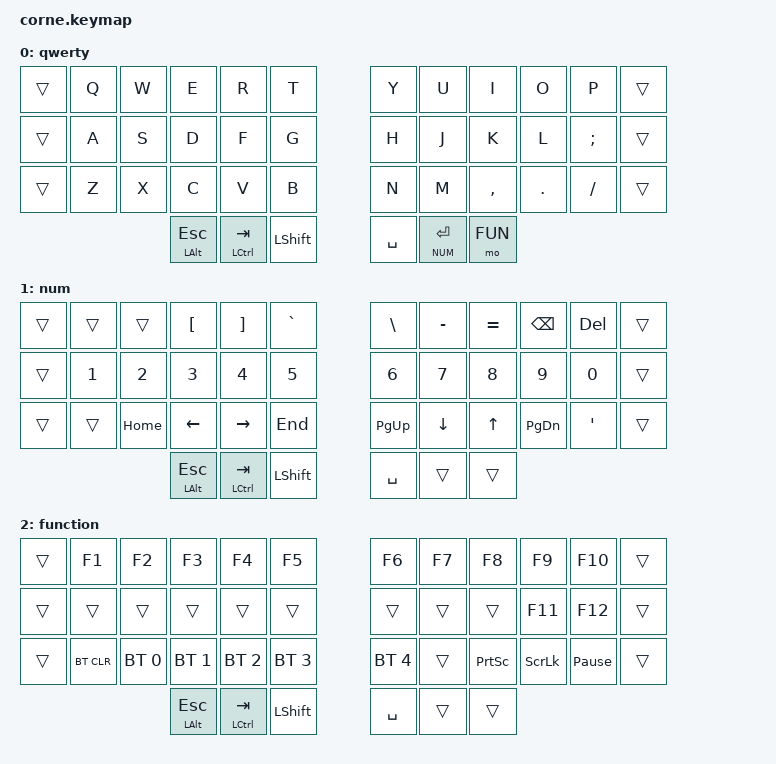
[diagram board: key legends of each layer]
/*
 * Copyright (c) 2020 The ZMK Contributors
 *
 * SPDX-License-Identifier: MIT
 */

#include <behaviors.dtsi>
#include <dt-bindings/zmk/keys.h>
#include <dt-bindings/zmk/bt.h>

#define NUM 1
#define FUN 2

// Configure behaviors

&mt {
		tapping-term-ms = <250>;
		flavor = "hold-preferred";
};

&lt {
		tapping-term-ms = <250>;
		flavor = "hold-preferred";
};

/ {
        keymap {
                compatible = "zmk,keymap";

                qwerty {
                        bindings = <
   &trans  &kp Q  &kp W  &kp E  &kp R  &kp T    &kp Y  &kp U  &kp I      &kp O    &kp P     &trans
   &trans  &kp A  &kp S  &kp D  &kp F  &kp G    &kp H  &kp J  &kp K      &kp L    &kp SEMI  &trans
   &trans  &kp Z  &kp X  &kp C  &kp V  &kp B    &kp N  &kp M  &kp COMMA  &kp DOT  &kp FSLH   &trans
   &mt LALT ESC  &mt LCTRL TAB &kp LSHFT        &kp SPACE  &lt NUM RET  &mo FUN
                        >;
                };
                num {
                        bindings = <
   &trans  &trans  &trans    &kp LBKT  &kp RBKT   &kp GRAVE        &kp BSLH   &kp MINUS  &kp EQUAL  &kp BSPC   &kp DEL  &trans
   &trans  &kp N1  &kp N2    &kp N3    &kp N4     &kp N5          &kp N6     &kp N7     &kp N8     &kp N9     &kp N0   &trans
   &trans  &trans  &kp HOME  &kp LEFT  &kp RIGHT  &kp END         &kp PG_UP  &kp DOWN   &kp UP     &kp PG_DN  &kp SQT  &trans
   &mt LALT ESC  &mt LCTRL TAB &kp LSHFT                          &kp SPACE  &trans  &trans 
                        >;
                };
                function {
                        bindings = <
   &trans  &kp F1      &kp F2        &kp F3        &kp F4        &kp F5          &kp F6        &kp F7  &kp F8     &kp F9    &kp F10   &trans
   &trans  &trans      &trans        &trans        &trans        &trans          &trans        &trans  &trans     &kp F11   &kp F12   &trans
   &trans  &bt BT_CLR  &bt BT_SEL 0  &bt BT_SEL 1  &bt BT_SEL 2  &bt BT_SEL 3    &bt BT_SEL 4  &trans  &kp PSCRN  &kp SLCK  &kp PAUSE_BREAK &trans
   &mt LALT ESC  &mt LCTRL TAB &kp LSHFT                          &kp SPACE  &trans  &trans 
                        >;
                };
        };
};
